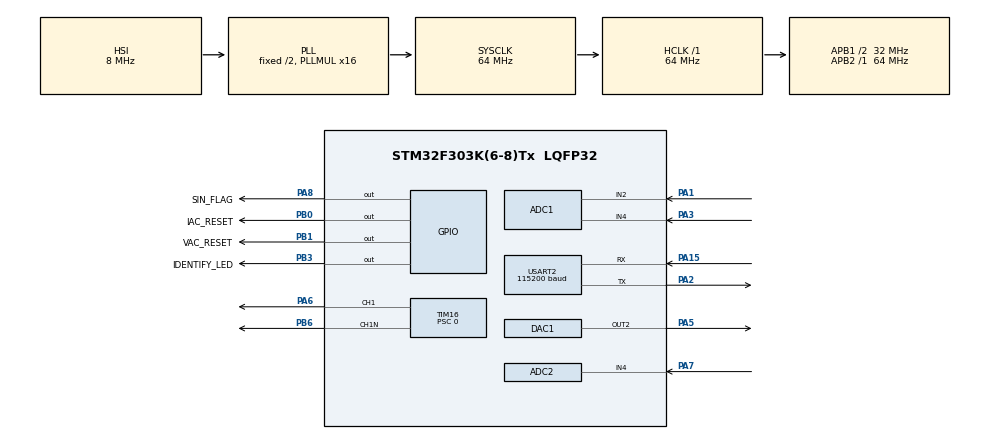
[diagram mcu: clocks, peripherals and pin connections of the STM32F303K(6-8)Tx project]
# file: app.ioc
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ADC1.Channel-14\#ChannelRegularConversion=ADC_CHANNEL_4
ADC1.ClockPrescaler=ADC_CLOCK_SYNC_PCLK_DIV1
ADC1.ContinuousConvMode=DISABLE
ADC1.DMAContinuousRequests=DISABLE
ADC1.EOCSelection=ADC_EOC_SINGLE_CONV
ADC1.EnableInjectedConversion=ENABLE
ADC1.EnableRegularConversion=ENABLE
ADC1.ExternalTrigConv=ADC_EXTERNALTRIGCONV_T6_TRGO
ADC1.InjNumberOfConversion=0
ADC1.Mode=ADC_DUALMODE_REGSIMULT
ADC1.NbrOfConversionFlag=1
ADC1.Offset-14\#ChannelRegularConversion=0
ADC1.OffsetNumber-14\#ChannelRegularConversion=ADC_OFFSET_NONE
ADC1.Overrun=ADC_OVR_DATA_PRESERVED
ADC1.Rank-14\#ChannelRegularConversion=1
ADC1.SamplingTime-14\#ChannelRegularConversion=ADC_SAMPLETIME_19CYCLES_5
ADC1.SubFamily=STM32F303x8
ADC1.master=1
ADC2.Channel-3\#ChannelRegularConversion=ADC_CHANNEL_4
ADC2.ClockPrescaler=ADC_CLOCK_SYNC_PCLK_DIV1
ADC2.ContinuousConvMode=DISABLE
ADC2.DMAContinuousRequests=DISABLE
ADC2.EOCSelection=ADC_EOC_SINGLE_CONV
ADC2.Mode=ADC_DUALMODE_REGSIMULT
ADC2.NbrOfConversion=1
ADC2.NbrOfConversionFlag=1
ADC2.Offset-3\#ChannelRegularConversion=0
ADC2.OffsetNumber-3\#ChannelRegularConversion=ADC_OFFSET_NONE
ADC2.Overrun=ADC_OVR_DATA_PRESERVED
ADC2.Rank-3\#ChannelRegularConversion=1
ADC2.SamplingTime-3\#ChannelRegularConversion=ADC_SAMPLETIME_19CYCLES_5
ADC2.SequencerNbRanks=1
ADC2.SubFamily=STM32F303x8
DAC1.DAC_Trigger2=DAC_TRIGGER_NONE
Dma.ADC1.0.Direction=DMA_PERIPH_TO_MEMORY
Dma.ADC1.0.Instance=DMA1_Channel1
Dma.ADC1.0.MemDataAlignment=DMA_MDATAALIGN_WORD
Dma.ADC1.0.MemInc=DMA_MINC_ENABLE
Dma.ADC1.0.Mode=DMA_NORMAL
Dma.ADC1.0.PeriphDataAlignment=DMA_PDATAALIGN_WORD
Dma.ADC1.0.PeriphInc=DMA_PINC_DISABLE
Dma.ADC1.0.Priority=DMA_PRIORITY_LOW
Dma.ADC2.1.Direction=DMA_PERIPH_TO_MEMORY
Dma.ADC2.1.Instance=DMA1_Channel2
Dma.ADC2.1.MemDataAlignment=DMA_MDATAALIGN_WORD
Dma.ADC2.1.MemInc=DMA_MINC_ENABLE
Dma.ADC2.1.Mode=DMA_NORMAL
Dma.ADC2.1.PeriphDataAlignment=DMA_PDATAALIGN_HALFWORD
Dma.ADC2.1.PeriphInc=DMA_PINC_DISABLE
Dma.ADC2.1.Priority=DMA_PRIORITY_LOW
Dma.Request0=ADC1
Dma.Request1=ADC2
Mcu.Family=STM32F3
Mcu.Name=STM32F303K(6-8)Tx
Mcu.Package=LQFP32
NVIC.ADC1_2_IRQn=true\:0\:0\:true\:false\:true\:true\:true\:true
NVIC.DMA1_Channel1_IRQn=true\:0\:0\:false\:false\:true\:false\:true\:true
NVIC.DMA1_Channel2_IRQn=true\:0\:0\:false\:false\:true\:false\:true\:true
NVIC.PriorityGroup=NVIC_PRIORITYGROUP_4
NVIC.TIM3_IRQn=true\:0\:0\:false\:false\:true\:true\:true\:true
NVIC.USART2_IRQn=true\:0\:0\:true\:false\:true\:true\:true\:true
PA1.Mode=IN2-Single-Ended
PA1.Signal=ADC1_IN2
PA13.Mode=Serial_Wire
PA13.Signal=SYS_JTMS-SWDIO
PA14.Mode=Serial_Wire
PA14.Signal=SYS_JTCK-SWCLK
PA15.GPIO_ModeDefaultPP=GPIO_MODE_AF_PP
PA15.GPIO_PuPd=GPIO_NOPULL
PA15.GPIO_Speed=GPIO_SPEED_FREQ_HIGH
PA15.Mode=Asynchronous
PA15.Signal=USART2_RX
PA2.GPIO_ModeDefaultPP=GPIO_MODE_AF_PP
PA2.GPIO_PuPd=GPIO_NOPULL
PA2.GPIO_Speed=GPIO_SPEED_FREQ_HIGH
PA2.Mode=Asynchronous
PA2.Signal=USART2_TX
PA3.Mode=IN4-Single-Ended
PA3.Signal=ADC1_IN4
PA5.GPIO_PuPd=GPIO_NOPULL
PA5.Signal=COMP_DAC12_group
PA6.Signal=S_TIM16_CH1
PA7.Mode=IN4-Single-Ended
PA7.Signal=ADC2_IN4
PA8.GPIO_Label=SIN_FLAG
PA8.Signal=GPIO_Output
PB0.GPIO_Label=IAC_RESET
PB0.Signal=GPIO_Output
PB1.GPIO_Label=VAC_RESET
PB1.Signal=GPIO_Output
PB3.GPIO_Label=IDENTIFY_LED
PB3.Signal=GPIO_Output
PB6.GPIO_FM6=SYSCFG_CFGR1_I2C_PB6_FMP
PB6.Mode=PWM Generation1 CH1 CH1N
PB6.Signal=TIM16_CH1N
PF0\ /\ OSC_IN.Mode=HSE-External-Oscillator
PF0\ /\ OSC_IN.Signal=RCC_OSC_IN
PF1\ /\ OSC_OUT.Mode=HSE-External-Oscillator
PF1\ /\ OSC_OUT.Signal=RCC_OSC_OUT
ProjectManager.HeapSize=0x200
ProjectManager.StackSize=0x400
ProjectManager.TargetToolchain=Makefile
RCC.AHBFreq_Value=64000000
RCC.APB1CLKDivider=RCC_HCLK_DIV2
RCC.APB1Freq_Value=32000000
RCC.APB1TimFreq_Value=64000000
RCC.APB2Freq_Value=64000000
RCC.APB2TimFreq_Value=64000000
RCC.CortexFreq_Value=64000000
RCC.HCLKFreq_Value=64000000
RCC.HSE_VALUE=8000000
RCC.HSI_VALUE=8000000
RCC.PLLMUL=RCC_PLL_MUL16
RCC.RCC_PLLsource_Clock_Source_FROM_HSE=RCC_HSE_PREDIV_DIV2
RCC.SYSCLKFreq_VALUE=64000000
RCC.SYSCLKSourceVirtual=RCC_SYSCLKSOURCE_PLLCLK
SH.COMP_DAC12_group.0=DAC1_OUT2,DAC_OUT2
SH.S_TIM16_CH1.0=TIM16_CH1,PWM Generation1 CH1 CH1N
TIM16.Channel=TIM_CHANNEL_1
TIM16.Period=640-1
TIM16.Prescaler=0
TIM16.Pulse=320-1
TIM3.Period=1000-1
TIM3.TIM_MasterOutputTrigger=TIM_TRGO_UPDATE
TIM6.AutoReloadPreload=TIM_AUTORELOAD_PRELOAD_ENABLE
TIM6.Period=1000-1
TIM6.Prescaler=0
TIM6.TIM_MasterOutputTrigger=TIM_TRGO_UPDATE
USART2.BaudRate=115200
USART2.DMADisableonRxErrorParam=ADVFEATURE_DMA_ENABLEONRXERROR
USART2.OverrunDisableParam=ADVFEATURE_OVERRUN_ENABLE
USART2.VirtualMode-Asynchronous=VM_ASYNC
VP_TIM16_VS_ClockSourceINT.Mode=Enable_Timer
VP_TIM3_VS_ClockSourceINT.Mode=Internal
VP_TIM6_VS_ClockSourceINT.Mode=Enable_Timer
board=NUCLEO-F303K8

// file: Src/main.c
/* USER CODE BEGIN Header */
/**
 ******************************************************************************
 * @file           : main.c
 * @brief          : Main program body
 ******************************************************************************
 * @attention
 *
 * <h2><center>&copy; Copyright (c) 2020 STMicroelectronics.
 * All rights reserved.</center></h2>
 *
 * This software component is licensed by ST under BSD 3-Clause license,
 * the "License"; You may not use this file except in compliance with the
 * License. You may obtain a copy of the License at:
 *                        opensource.org/licenses/BSD-3-Clause
 *
 ******************************************************************************
 */
/* USER CODE END Header */
#include "main.h"

/* USER CODE BEGIN Includes */
#include <math.h>
#include <stdio.h>
#include <stdlib.h>
#include <string.h>

#include "run-app.hpp"

/* USER CODE END Includes */

/* USER CODE BEGIN PD */
#define true 1
#define false 0
/* USER CODE END PD */

ADC_HandleTypeDef hadc1;
ADC_HandleTypeDef hadc2;
DMA_HandleTypeDef hdma_adc1;
DMA_HandleTypeDef hdma_adc2;

DAC_HandleTypeDef hdac1;

TIM_HandleTypeDef htim3;
TIM_HandleTypeDef htim6;
TIM_HandleTypeDef htim16;

UART_HandleTypeDef huart2;

/* USER CODE BEGIN PV */
// Receive data
uint8_t UART_Data;

/* USER CODE END PV */

void SystemClock_Config(void);
static void MX_GPIO_Init(void);
static void MX_DMA_Init(void);
static void MX_ADC1_Init(void);
static void MX_TIM6_Init(void);
static void MX_ADC2_Init(void);
static void MX_USART2_UART_Init(void);
static void MX_DAC1_Init(void);
static void MX_TIM16_Init(void);
static void MX_TIM3_Init(void);

int main(void)
{

  /* MCU Configuration--------------------------------------------------------*/

  /* Reset of all peripherals, Initializes the Flash interface and the Systick. */
  HAL_Init();

  /* USER CODE BEGIN Init */
  // __HAL_UART_ENABLE_IT(&huart2, UART_IT_RXNE);
  /* USER CODE END Init */

  /* Configure the system clock */
  SystemClock_Config();

  /* Initialize all configured peripherals */
  MX_GPIO_Init();
  MX_DMA_Init();
  MX_ADC1_Init();
  MX_TIM6_Init();
  MX_ADC2_Init();
  MX_USART2_UART_Init();
  MX_DAC1_Init();
  MX_TIM16_Init();
  MX_TIM3_Init();
  /* USER CODE BEGIN 2 */
  // Timer start
  HAL_TIM_Base_Start(&htim6);

  // transmit and recieve
  HAL_UART_Receive_IT(&huart2, &UART_Data, 1);

  // ADC
  if (HAL_ADCEx_Calibration_Start(&hadc1, ADC_SINGLE_ENDED) != HAL_OK)
  {
    Error_Handler();
  }

  if (HAL_ADCEx_Calibration_Start(&hadc2, ADC_SINGLE_ENDED) != HAL_OK)
  {
    Error_Handler();
  }

  // DAC

  if (HAL_DAC_Start(&hdac1, DAC1_CHANNEL_1) != HAL_OK)
  {
    Error_Handler();
  }

  if (HAL_DAC_Start(&hdac1, DAC1_CHANNEL_2) != HAL_OK)
  {
    Error_Handler();
  }

  if (HAL_DAC_SetValue(&hdac1, DAC1_CHANNEL_1, DAC_ALIGN_12B_R, (uint32_t)2048) != HAL_OK)
  {
    Error_Handler();
  }

  if (HAL_DAC_SetValue(&hdac1, DAC1_CHANNEL_2, DAC_ALIGN_12B_R, (uint32_t)2048) != HAL_OK)
  {
    Error_Handler();
  }

  // GPIO

  // Always reset

  // Always set
  HAL_GPIO_WritePin(SIN_FLAG_GPIO_Port, SIN_FLAG_Pin, GPIO_PIN_SET);
  HAL_GPIO_WritePin(IAC_RESET_GPIO_Port, IAC_RESET_Pin, GPIO_PIN_RESET);
  HAL_GPIO_WritePin(VAC_RESET_GPIO_Port, VAC_RESET_Pin, GPIO_PIN_RESET);
  /* USER CODE END 2 */

  /* Infinite loop */
  /* USER CODE BEGIN WHILE */

  runApp();

    /* USER CODE END WHILE */

}

void SystemClock_Config(void)
{
  RCC_OscInitTypeDef RCC_OscInitStruct = {0};
  RCC_ClkInitTypeDef RCC_ClkInitStruct = {0};

  /** Initializes the RCC Oscillators according to the specified parameters
  * in the RCC_OscInitTypeDef structure.
  */
  RCC_OscInitStruct.OscillatorType = RCC_OSCILLATORTYPE_HSI;
  RCC_OscInitStruct.HSIState = RCC_HSI_ON;
  RCC_OscInitStruct.HSICalibrationValue = RCC_HSICALIBRATION_DEFAULT;
  RCC_OscInitStruct.PLL.PLLState = RCC_PLL_ON;
  RCC_OscInitStruct.PLL.PLLSource = RCC_PLLSOURCE_HSI;
  RCC_OscInitStruct.PLL.PLLMUL = RCC_PLL_MUL16;
  if (HAL_RCC_OscConfig(&RCC_OscInitStruct) != HAL_OK)
  {
    Error_Handler();
  }

  /** Initializes the CPU, AHB and APB buses clocks
  */
  RCC_ClkInitStruct.ClockType = RCC_CLOCKTYPE_HCLK|RCC_CLOCKTYPE_SYSCLK
                              |RCC_CLOCKTYPE_PCLK1|RCC_CLOCKTYPE_PCLK2;
  RCC_ClkInitStruct.SYSCLKSource = RCC_SYSCLKSOURCE_PLLCLK;
  RCC_ClkInitStruct.AHBCLKDivider = RCC_SYSCLK_DIV1;
  RCC_ClkInitStruct.APB1CLKDivider = RCC_HCLK_DIV2;
  RCC_ClkInitStruct.APB2CLKDivider = RCC_HCLK_DIV1;

  if (HAL_RCC_ClockConfig(&RCC_ClkInitStruct, FLASH_LATENCY_2) != HAL_OK)
  {
    Error_Handler();
  }
}

static void MX_ADC1_Init(void)
{

  ADC_MultiModeTypeDef multimode = {0};
  ADC_ChannelConfTypeDef sConfig = {0};

  /** Common config
  */
  hadc1.Instance = ADC1;
  hadc1.Init.ClockPrescaler = ADC_CLOCK_SYNC_PCLK_DIV1;
  hadc1.Init.Resolution = ADC_RESOLUTION_12B;
  hadc1.Init.ScanConvMode = ADC_SCAN_DISABLE;
  hadc1.Init.ContinuousConvMode = DISABLE;
  hadc1.Init.DiscontinuousConvMode = DISABLE;
  hadc1.Init.ExternalTrigConvEdge = ADC_EXTERNALTRIGCONVEDGE_RISING;
  hadc1.Init.ExternalTrigConv = ADC_EXTERNALTRIGCONV_T6_TRGO;
  hadc1.Init.DataAlign = ADC_DATAALIGN_RIGHT;
  hadc1.Init.NbrOfConversion = 1;
  hadc1.Init.DMAContinuousRequests = DISABLE;
  hadc1.Init.EOCSelection = ADC_EOC_SINGLE_CONV;
  hadc1.Init.LowPowerAutoWait = DISABLE;
  hadc1.Init.Overrun = ADC_OVR_DATA_PRESERVED;
  if (HAL_ADC_Init(&hadc1) != HAL_OK)
  {
    Error_Handler();
  }

  /** Configure the ADC multi-mode
  */
  multimode.Mode = ADC_DUALMODE_REGSIMULT;
  multimode.DMAAccessMode = ADC_DMAACCESSMODE_12_10_BITS;
  multimode.TwoSamplingDelay = ADC_TWOSAMPLINGDELAY_1CYCLE;
  if (HAL_ADCEx_MultiModeConfigChannel(&hadc1, &multimode) != HAL_OK)
  {
    Error_Handler();
  }

  /** Configure Regular Channel
  */
  sConfig.Channel = ADC_CHANNEL_4;
  sConfig.Rank = ADC_REGULAR_RANK_1;
  sConfig.SingleDiff = ADC_SINGLE_ENDED;
  sConfig.SamplingTime = ADC_SAMPLETIME_19CYCLES_5;
  sConfig.OffsetNumber = ADC_OFFSET_NONE;
  sConfig.Offset = 0;
  if (HAL_ADC_ConfigChannel(&hadc1, &sConfig) != HAL_OK)
  {
    Error_Handler();
  }

}

static void MX_ADC2_Init(void)
{

  ADC_ChannelConfTypeDef sConfig = {0};

  /** Common config
  */
  hadc2.Instance = ADC2;
  hadc2.Init.ClockPrescaler = ADC_CLOCK_SYNC_PCLK_DIV1;
  hadc2.Init.Resolution = ADC_RESOLUTION_12B;
  hadc2.Init.ScanConvMode = ADC_SCAN_DISABLE;
  hadc2.Init.ContinuousConvMode = DISABLE;
  hadc2.Init.DiscontinuousConvMode = DISABLE;
  hadc2.Init.DataAlign = ADC_DATAALIGN_RIGHT;
  hadc2.Init.NbrOfConversion = 1;
  hadc2.Init.DMAContinuousRequests = DISABLE;
  hadc2.Init.EOCSelection = ADC_EOC_SINGLE_CONV;
  hadc2.Init.LowPowerAutoWait = DISABLE;
  hadc2.Init.Overrun = ADC_OVR_DATA_PRESERVED;
  if (HAL_ADC_Init(&hadc2) != HAL_OK)
  {
    Error_Handler();
  }

  /** Configure Regular Channel
  */
  sConfig.Channel = ADC_CHANNEL_4;
  sConfig.Rank = ADC_REGULAR_RANK_1;
  sConfig.SingleDiff = ADC_SINGLE_ENDED;
  sConfig.SamplingTime = ADC_SAMPLETIME_19CYCLES_5;
  sConfig.OffsetNumber = ADC_OFFSET_NONE;
  sConfig.Offset = 0;
  if (HAL_ADC_ConfigChannel(&hadc2, &sConfig) != HAL_OK)
  {
    Error_Handler();
  }

}

static void MX_DAC1_Init(void)
{

  DAC_ChannelConfTypeDef sConfig = {0};

  /** DAC Initialization
  */
  hdac1.Instance = DAC1;
  if (HAL_DAC_Init(&hdac1) != HAL_OK)
  {
    Error_Handler();
  }

  /** DAC channel OUT2 config
  */
  sConfig.DAC_Trigger = DAC_TRIGGER_NONE;
  sConfig.DAC_OutputSwitch = DAC_OUTPUTSWITCH_ENABLE;
  if (HAL_DAC_ConfigChannel(&hdac1, &sConfig, DAC_CHANNEL_2) != HAL_OK)
  {
    Error_Handler();
  }

}

static void MX_TIM3_Init(void)
{

  TIM_ClockConfigTypeDef sClockSourceConfig = {0};
  TIM_MasterConfigTypeDef sMasterConfig = {0};

  htim3.Instance = TIM3;
  htim3.Init.Prescaler = 0;
  htim3.Init.CounterMode = TIM_COUNTERMODE_UP;
  htim3.Init.Period = 1000-1;
  htim3.Init.ClockDivision = TIM_CLOCKDIVISION_DIV1;
  htim3.Init.AutoReloadPreload = TIM_AUTORELOAD_PRELOAD_DISABLE;
  if (HAL_TIM_Base_Init(&htim3) != HAL_OK)
  {
    Error_Handler();
  }
  sClockSourceConfig.ClockSource = TIM_CLOCKSOURCE_INTERNAL;
  if (HAL_TIM_ConfigClockSource(&htim3, &sClockSourceConfig) != HAL_OK)
  {
    Error_Handler();
  }
  sMasterConfig.MasterOutputTrigger = TIM_TRGO_UPDATE;
  sMasterConfig.MasterSlaveMode = TIM_MASTERSLAVEMODE_DISABLE;
  if (HAL_TIMEx_MasterConfigSynchronization(&htim3, &sMasterConfig) != HAL_OK)
  {
    Error_Handler();
  }

}

static void MX_TIM6_Init(void)
{

  TIM_MasterConfigTypeDef sMasterConfig = {0};

  htim6.Instance = TIM6;
  htim6.Init.Prescaler = 0;
  htim6.Init.CounterMode = TIM_COUNTERMODE_UP;
  htim6.Init.Period = 1000-1;
  htim6.Init.AutoReloadPreload = TIM_AUTORELOAD_PRELOAD_ENABLE;
  if (HAL_TIM_Base_Init(&htim6) != HAL_OK)
  {
    Error_Handler();
  }
  sMasterConfig.MasterOutputTrigger = TIM_TRGO_UPDATE;
  sMasterConfig.MasterSlaveMode = TIM_MASTERSLAVEMODE_DISABLE;
  if (HAL_TIMEx_MasterConfigSynchronization(&htim6, &sMasterConfig) != HAL_OK)
  {
    Error_Handler();
  }

}

static void MX_TIM16_Init(void)
{

  TIM_OC_InitTypeDef sConfigOC = {0};
  TIM_BreakDeadTimeConfigTypeDef sBreakDeadTimeConfig = {0};

  htim16.Instance = TIM16;
  htim16.Init.Prescaler = 0;
  htim16.Init.CounterMode = TIM_COUNTERMODE_UP;
  htim16.Init.Period = 640-1;
  htim16.Init.ClockDivision = TIM_CLOCKDIVISION_DIV1;
  htim16.Init.RepetitionCounter = 0;
  htim16.Init.AutoReloadPreload = TIM_AUTORELOAD_PRELOAD_DISABLE;
  if (HAL_TIM_Base_Init(&htim16) != HAL_OK)
  {
    Error_Handler();
  }
  if (HAL_TIM_PWM_Init(&htim16) != HAL_OK)
  {
    Error_Handler();
  }
  sConfigOC.OCMode = TIM_OCMODE_PWM1;
  sConfigOC.Pulse = 320-1;
  sConfigOC.OCPolarity = TIM_OCPOLARITY_HIGH;
  sConfigOC.OCNPolarity = TIM_OCNPOLARITY_HIGH;
  sConfigOC.OCFastMode = TIM_OCFAST_DISABLE;
  sConfigOC.OCIdleState = TIM_OCIDLESTATE_RESET;
  sConfigOC.OCNIdleState = TIM_OCNIDLESTATE_RESET;
  if (HAL_TIM_PWM_ConfigChannel(&htim16, &sConfigOC, TIM_CHANNEL_1) != HAL_OK)
  {
    Error_Handler();
  }
  sBreakDeadTimeConfig.OffStateRunMode = TIM_OSSR_DISABLE;
  sBreakDeadTimeConfig.OffStateIDLEMode = TIM_OSSI_DISABLE;
  sBreakDeadTimeConfig.LockLevel = TIM_LOCKLEVEL_OFF;
  sBreakDeadTimeConfig.DeadTime = 0;
  sBreakDeadTimeConfig.BreakState = TIM_BREAK_DISABLE;
  sBreakDeadTimeConfig.BreakPolarity = TIM_BREAKPOLARITY_HIGH;
  sBreakDeadTimeConfig.BreakFilter = 0;
  sBreakDeadTimeConfig.AutomaticOutput = TIM_AUTOMATICOUTPUT_DISABLE;
  if (HAL_TIMEx_ConfigBreakDeadTime(&htim16, &sBreakDeadTimeConfig) != HAL_OK)
  {
    Error_Handler();
  }
  HAL_TIM_MspPostInit(&htim16);

}

static void MX_USART2_UART_Init(void)
{

  huart2.Instance = USART2;
  huart2.Init.BaudRate = 115200;
  huart2.Init.WordLength = UART_WORDLENGTH_8B;
  huart2.Init.StopBits = UART_STOPBITS_1;
  huart2.Init.Parity = UART_PARITY_NONE;
  huart2.Init.Mode = UART_MODE_TX_RX;
  huart2.Init.HwFlowCtl = UART_HWCONTROL_NONE;
  huart2.Init.OverSampling = UART_OVERSAMPLING_16;
  huart2.Init.OneBitSampling = UART_ONE_BIT_SAMPLE_DISABLE;
  huart2.AdvancedInit.AdvFeatureInit = UART_ADVFEATURE_NO_INIT;
  if (HAL_UART_Init(&huart2) != HAL_OK)
  {
    Error_Handler();
  }

}

static void MX_DMA_Init(void)
{

  /* DMA controller clock enable */
  __HAL_RCC_DMA1_CLK_ENABLE();

  /* DMA interrupt init */
  /* DMA1_Channel1_IRQn interrupt configuration */
  HAL_NVIC_SetPriority(DMA1_Channel1_IRQn, 0, 0);
  HAL_NVIC_EnableIRQ(DMA1_Channel1_IRQn);
  /* DMA1_Channel2_IRQn interrupt configuration */
  HAL_NVIC_SetPriority(DMA1_Channel2_IRQn, 0, 0);
  HAL_NVIC_EnableIRQ(DMA1_Channel2_IRQn);

}

static void MX_GPIO_Init(void)
{
  GPIO_InitTypeDef GPIO_InitStruct = {0};

  /* GPIO Ports Clock Enable */
  __HAL_RCC_GPIOF_CLK_ENABLE();
  __HAL_RCC_GPIOA_CLK_ENABLE();
  __HAL_RCC_GPIOB_CLK_ENABLE();

  /*Configure GPIO pin Output Level */
  HAL_GPIO_WritePin(GPIOB, IAC_RESET_Pin|VAC_RESET_Pin|IDENTIFY_LED_Pin, GPIO_PIN_RESET);

  /*Configure GPIO pin Output Level */
  HAL_GPIO_WritePin(SIN_FLAG_GPIO_Port, SIN_FLAG_Pin, GPIO_PIN_RESET);

  /*Configure GPIO pins : IAC_RESET_Pin VAC_RESET_Pin IDENTIFY_LED_Pin */
  GPIO_InitStruct.Pin = IAC_RESET_Pin|VAC_RESET_Pin|IDENTIFY_LED_Pin;
  GPIO_InitStruct.Mode = GPIO_MODE_OUTPUT_PP;
  GPIO_InitStruct.Pull = GPIO_NOPULL;
  GPIO_InitStruct.Speed = GPIO_SPEED_FREQ_LOW;
  HAL_GPIO_Init(GPIOB, &GPIO_InitStruct);

  /*Configure GPIO pin : SIN_FLAG_Pin */
  GPIO_InitStruct.Pin = SIN_FLAG_Pin;
  GPIO_InitStruct.Mode = GPIO_MODE_OUTPUT_PP;
  GPIO_InitStruct.Pull = GPIO_NOPULL;
  GPIO_InitStruct.Speed = GPIO_SPEED_FREQ_LOW;
  HAL_GPIO_Init(SIN_FLAG_GPIO_Port, &GPIO_InitStruct);

}

void Error_Handler(void)
{
  /* USER CODE BEGIN Error_Handler_Debug */
  /* User can add his own implementation to report the HAL error return state
   */

  /* USER CODE END Error_Handler_Debug */
}

#ifdef  USE_FULL_ASSERT
/**
  * @brief  Reports the name of the source file and the source line number
  *         where the assert_param error has occurred.
  * @param  file: pointer to the source file name
  * @param  line: assert_param error line source number
  * @retval None
  */
void assert_failed(uint8_t *file, uint32_t line)
{
  /* USER CODE BEGIN 6 */
  /* User can add his own implementation to report the file name and line
     number,
     tex: printf("Wrong parameters value: file %s on line %d\r\n", file, line)
   */
  /* USER CODE END 6 */
}
#endif /* USE_FULL_ASSERT */
